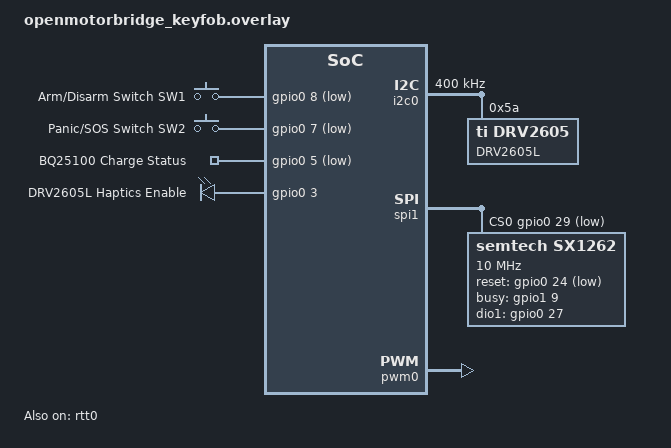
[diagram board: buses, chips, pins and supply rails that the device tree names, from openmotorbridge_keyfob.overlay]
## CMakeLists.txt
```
# OpenMotorBridge - PCBA 07 Smart Keyfob & Silent Pager Firmware
# Target: Nordic Semiconductor nRF52840 (ARM Cortex-M4F @ 64 MHz)
# Toolchain: Zephyr RTOS / Nordic nRF Connect SDK (NCS) / CMake

cmake_minimum_required(VERSION 3.20.0)

find_package(Zephyr REQUIRED HINTS $ENV{ZEPHYR_BASE})
project(openmotorbridge_smart_keyfob VERSION 1.0.0 LANGUAGES C CXX ASM)

target_sources(app PRIVATE
    src/main.cpp
    src/keyfob_ble.cpp
    src/sx1262_lora.cpp
    src/drv2605l_haptics.cpp
    src/buzzer_driver.cpp
    src/ws2812b_led.cpp
    src/power_manager.cpp
)

target_include_directories(app PRIVATE src)

# Compiler flags for ultra-low-power optimization and modern C++17
target_compile_features(app PRIVATE cxx_std_17)
target_compile_options(app PRIVATE
    -Wall
    -Wextra
    -Os
    -ffunction-sections
    -fdata-sections
)
```

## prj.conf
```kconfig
# OpenMotorBridge - Smart Keyfob & Silent Pager Configuration
# Nordic Semiconductor nRF52840 (ARM Cortex-M4F)

# 1. System & RTOS
CONFIG_CPLUSPLUS=y
CONFIG_STD_CPP17=y
CONFIG_MAIN_STACK_SIZE=2048
CONFIG_SYSTEM_WORKQUEUE_STACK_SIZE=2048
CONFIG_HEAP_MEM_POOL_SIZE=4096

# 2. Power Management & Low Power Sleep (< 25 µA target)
CONFIG_PM=y
CONFIG_PM_DEVICE=y
CONFIG_TICKLESS_KERNEL=y

# 3. Hardware Drivers
CONFIG_GPIO=y
CONFIG_SPI=y
CONFIG_I2C=y
CONFIG_PWM=y
CONFIG_ADC=y
CONFIG_WATCHDOG=y
CONFIG_REBOOT=y

# 4. Bluetooth Low Energy 5.4 Stack
CONFIG_BT=y
CONFIG_BT_PERIPHERAL=y
CONFIG_BT_DEVICE_NAME="OMB-KEYFOB"
CONFIG_BT_DEVICE_APPEARANCE=964
CONFIG_BT_GATT_CLIENT=n
CONFIG_BT_MAX_CONN=1
CONFIG_BT_MAX_PAIRED=2
CONFIG_BT_SMP=y
CONFIG_BT_BONDABLE=y
CONFIG_BT_SETTINGS=y
CONFIG_SETTINGS=y
CONFIG_FLASH=y
CONFIG_FLASH_MAP=y
CONFIG_NVS=y

# 5. Crypto & Hardware RNG
CONFIG_ENTROPY_GENERATOR=y
CONFIG_CRYPTO=y
CONFIG_CRYPTO_NRF_ECB=y

# 6. Logging & Console
CONFIG_LOG=y
CONFIG_LOG_DEFAULT_LEVEL=3
CONFIG_PRINTK=y
CONFIG_CONSOLE=y
CONFIG_UART_CONSOLE=n
CONFIG_RTT_CONSOLE=y
CONFIG_USE_SEGGER_RTT=y
```

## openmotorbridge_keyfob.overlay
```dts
// OpenMotorBridge - PCBA 07 Smart Keyfob & Silent Pager DeviceTree Overlay
// Target: Nordic Semiconductor nRF52840-QIAA (AQFN-73)

/ {
    chosen {
        zephyr,console = &rtt0;
        zephyr,shell-uart = &rtt0;
    };

    aliases {
        led0 = &status_led;
        sw0 = &button_arm;
        sw1 = &button_sos;
    };

    buttons {
        compatible = "gpio-keys";
        button_arm: button_0 {
            gpios = <&gpio0 8 (GPIO_PULL_UP | GPIO_ACTIVE_LOW)>;
            label = "Arm/Disarm Switch SW1";
        };
        button_sos: button_1 {
            gpios = <&gpio0 7 (GPIO_PULL_UP | GPIO_ACTIVE_LOW)>;
            label = "Panic/SOS Switch SW2";
        };
        chg_stat: chg_stat_0 {
            gpios = <&gpio0 5 (GPIO_PULL_UP | GPIO_ACTIVE_LOW)>;
            label = "BQ25100 Charge Status";
        };
    };

    leds {
        compatible = "gpio-leds";
        drv_en: drv_en_0 {
            gpios = <&gpio0 3 GPIO_ACTIVE_HIGH>;
            label = "DRV2605L Haptics Enable";
        };
    };
};

&rtt0 {
    status = "okay";
};

// I2C0 for TI DRV2605L Haptic Driver (SDA=P0.02, SCL=P0.28)
&i2c0 {
    status = "okay";
    compatible = "nordic,nrf-twim";
    pinctrl-0 = <&i2c0_default>;
    pinctrl-1 = <&i2c0_sleep>;
    pinctrl-names = "default", "sleep";
    clock-frequency = <I2C_BITRATE_FAST>;

    drv2605l: drv2605l@5a {
        compatible = "ti,drv2605";
        reg = <0x5a>;
        label = "DRV2605L";
    };
};

// SPI1 for Semtech SX1262 LoRa Transceiver (SCK=P0.26, MOSI=P0.30, MISO=P0.31, CS=P0.29)
&spi1 {
    status = "okay";
    compatible = "nordic,nrf-spim";
    pinctrl-0 = <&spi1_default>;
    pinctrl-1 = <&spi1_sleep>;
    pinctrl-names = "default", "sleep";
    cs-gpios = <&gpio0 29 GPIO_ACTIVE_LOW>;

    lora_sx1262: sx1262@0 {
        compatible = "semtech,sx1262";
        reg = <0>;
        spi-max-frequency = <10000000>;
        reset-gpios = <&gpio0 24 GPIO_ACTIVE_LOW>;
        busy-gpios  = <&gpio1 9 GPIO_ACTIVE_HIGH>;
        dio1-gpios  = <&gpio0 27 GPIO_ACTIVE_HIGH>;
        label = "SX1262";
    };
};

// PWM0 for Piezo Buzzer (P0.06)
&pwm0 {
    status = "okay";
    pinctrl-0 = <&pwm0_default>;
    pinctrl-1 = <&pwm0_sleep>;
    pinctrl-names = "default", "sleep";
};
```

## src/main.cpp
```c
#include <stdio.h>
#include <string.h>

#include "keyfob_config.h"
#include "keyfob_ble.h"
#include "sx1262_lora.h"
#include "drv2605l_haptics.h"
#include "buzzer_driver.h"
#include "ws2812b_led.h"
#include "power_manager.h"

static bool s_is_armed = false;
static bool s_alarm_triggered = false;
static uint32_t s_idle_sleep_timer_ms = 0;

// Callback: LoRa Security Alarm received from Central Box (up to 4.5 km range)
static void on_lora_alarm_received(const KeyfobLoRaAlarmPkt& pkt) {
    if (pkt.header != 0xFE) return;

    s_alarm_triggered = true;

    // 1. Silent Pager Haptic Alert: Strong LRA vibration pulse in pocket
    Drv2605lHaptics::instance().play_effect(HAPTIC_ALARM_PULSE);

    // 2. Acoustic Buzzer Siren
    BuzzerDriver::instance().play_pattern(BUZZER_PATTERN_ALARM_SIREN);

    // 3. WS2812B LED Strobe Red
    Ws2812bLed::instance().set_mode(KEYFOB_LED_ALARM_STROBE_RED);
}

// Callback: Remote Command from Smartphone PWA via BLE
static void on_ble_remote_command(uint8_t cmd, uint8_t param) {
    if (cmd == 0x20) { // Arm / Disarm command
        s_is_armed = (param != 0);
        Drv2605lHaptics::instance().play_effect(s_is_armed ? HAPTIC_CLICK_CONFIRM : HAPTIC_CLICK_DISARM);
        BuzzerDriver::instance().play_pattern(s_is_armed ? BUZZER_PATTERN_CONFIRM_CHIRP : BUZZER_PATTERN_DISARM_CHIRP);
        Ws2812bLed::instance().set_mode(s_is_armed ? KEYFOB_LED_ARMED_CYAN : KEYFOB_LED_STANDBY_BREATHING_GREEN);
    }
}

// Button Handler for SW1 (Arm / Disarm)
static void handle_button_arm() {
    s_idle_sleep_timer_ms = 0;

    if (s_alarm_triggered) {
        // Acknowledge & clear active alarm
        s_alarm_triggered = false;
        BuzzerDriver::instance().stop();
        Drv2605lHaptics::instance().stop();
        Ws2812bLed::instance().set_mode(s_is_armed ? KEYFOB_LED_ARMED_CYAN : KEYFOB_LED_STANDBY_BREATHING_GREEN);
        return;
    }

    s_is_armed = !s_is_armed;

    // Haptic & Acoustic User Feedback
    Drv2605lHaptics::instance().play_effect(s_is_armed ? HAPTIC_CLICK_CONFIRM : HAPTIC_CLICK_DISARM);
    BuzzerDriver::instance().play_pattern(s_is_armed ? BUZZER_PATTERN_CONFIRM_CHIRP : BUZZER_PATTERN_DISARM_CHIRP);
    Ws2812bLed::instance().set_mode(s_is_armed ? KEYFOB_LED_ARMED_CYAN : KEYFOB_LED_STANDBY_BREATHING_GREEN);

    // Transmit to Central Box via BLE or LoRa
    if (KeyfobBle::instance().is_connected()) {
        KeyfobBle::instance().notify_alarm_state(s_is_armed);
        KeyfobBle::instance().notify_button_event(1, false);
    } else {
        Sx1262LoRa::instance().send_command(s_is_armed ? 0x20 : 0x21, 0x19680001);
    }
}

// Button Handler for SW2 (SOS Panic / Alarm)
static void handle_button_sos() {
    s_idle_sleep_timer_ms = 0;

    // Trigger Emergency SOS Panic
    Drv2605lHaptics::instance().play_effect(HAPTIC_SOS_PANIC);
    BuzzerDriver::instance().play_pattern(BUZZER_PATTERN_SOS_MORSE);
    Ws2812bLed::instance().set_mode(KEYFOB_LED_SOS_WHITE_RED);

    // Broadcast Emergency SOS Frame
    Sx1262LoRa::instance().send_sos_panic(0x19680001);

    if (KeyfobBle::instance().is_connected()) {
        KeyfobBle::instance().notify_button_event(2, true);
    }
}

int main(void) {
    // 1. Initialize Subsystems
    Ws2812bLed::instance().init();
    Ws2812bLed::instance().set_mode(KEYFOB_LED_STANDBY_BREATHING_GREEN);

    BuzzerDriver::instance().init();
    BuzzerDriver::instance().play_tone(KEYFOB_BUZZER_FREQ_ARM, 50); // Power-on chirp

    Drv2605lHaptics::instance().init();
    Drv2605lHaptics::instance().play_effect(HAPTIC_CLICK_CONFIRM);

    Sx1262LoRa::instance().init();
    Sx1262LoRa::instance().set_alarm_callback(on_lora_alarm_received);

    KeyfobBle::instance().init();
    KeyfobBle::instance().set_remote_command_callback(on_ble_remote_command);

    KeyfobPowerManager::instance().init();

    // 2. Main Event Loop (100 Hz / 10 ms Tick)
    while (1) {
        const uint32_t delta_ms = 10;

        Ws2812bLed::instance().update(delta_ms);
        BuzzerDriver::instance().update(delta_ms);
        Sx1262LoRa::instance().update();
        KeyfobBle::instance().update();
        KeyfobPowerManager::instance().update(delta_ms);

        // Update Qi Wireless Charging Status LED
        if (KeyfobPowerManager::instance().is_charging()) {
            Ws2812bLed::instance().set_mode(KEYFOB_LED_CHARGING_AMBER);
            s_idle_sleep_timer_ms = 0;
        }

        // Low Power Sleep Inactivity Management
        s_idle_sleep_timer_ms += delta_ms;
        if (!s_alarm_triggered && !BuzzerDriver::instance().is_playing() &&
            s_idle_sleep_timer_ms > 30000 && !KeyfobPowerManager::instance().is_charging()) {
            // Turn off LED and enter < 25 µA System ON Sleep
            Ws2812bLed::instance().set_mode(KEYFOB_LED_OFF);
            KeyfobPowerManager::instance().enter_ultra_low_power_sleep();
        }

        // Delay 10 ms
    }

    return 0;
}
```

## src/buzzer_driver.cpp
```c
#include "buzzer_driver.h"
#include "keyfob_config.h"

BuzzerDriver& BuzzerDriver::instance() {
    static BuzzerDriver s_instance;
    return s_instance;
}

BuzzerDriver::BuzzerDriver()
    : m_initialized(false),
      m_current_pattern(BUZZER_PATTERN_OFF),
      m_elapsed_ms(0),
      m_tone_duration_ms(0),
      m_tone_active(false) {}

void BuzzerDriver::set_pwm(uint16_t freq_hz, uint8_t duty_percent) {
    if (freq_hz == 0 || duty_percent == 0) {
        // Stop PWM output on KEYFOB_PIN_BUZZER_PWM (Pad F2)
        return;
    }
    // Set hardware timer PWM frequency and 50% duty cycle on Pad F2
}

bool BuzzerDriver::init() {
    set_pwm(0, 0);
    m_initialized = true;
    return true;
}

void BuzzerDriver::play_tone(uint16_t freq_hz, uint16_t duration_ms) {
    if (!m_initialized) return;
    m_tone_duration_ms = duration_ms;
    m_elapsed_ms = 0;
    m_tone_active = true;
    set_pwm(freq_hz, 50);
}

void BuzzerDriver::play_pattern(KeyfobBuzzerPattern pattern) {
    if (!m_initialized) return;
    m_current_pattern = pattern;
    m_elapsed_ms = 0;
    m_tone_active = true;

    switch (pattern) {
        case BUZZER_PATTERN_CONFIRM_CHIRP:
            play_tone(KEYFOB_BUZZER_FREQ_ARM, 80);
            break;

        case BUZZER_PATTERN_DISARM_CHIRP:
            play_tone(2400, 60);
            break;

        case BUZZER_PATTERN_ALARM_SIREN:
            set_pwm(KEYFOB_BUZZER_FREQ_ALARM, 50);
            break;

        case BUZZER_PATTERN_SOS_MORSE:
            play_tone(3000, 150);
            break;

        case BUZZER_PATTERN_BATTERY_WARN:
            play_tone(1800, 200);
            break;

        case BUZZER_PATTERN_OFF:
        default:
            stop();
            break;
    }
}

void BuzzerDriver::stop() {
    set_pwm(0, 0);
    m_current_pattern = BUZZER_PATTERN_OFF;
    m_tone_active = false;
    m_elapsed_ms = 0;
}

void BuzzerDriver::update(uint32_t delta_ms) {
    if (!m_tone_active) return;
    m_elapsed_ms += delta_ms;

    if (m_current_pattern == BUZZER_PATTERN_CONFIRM_CHIRP ||
        m_current_pattern == BUZZER_PATTERN_DISARM_CHIRP ||
        m_current_pattern == BUZZER_PATTERN_BATTERY_WARN) {
        if (m_elapsed_ms >= m_tone_duration_ms) {
            stop();
        }
    } else if (m_current_pattern == BUZZER_PATTERN_ALARM_SIREN) {
        // Siren frequency modulation (2.7 kHz <-> 4.0 kHz every 250 ms)
        uint32_t cycle = (m_elapsed_ms / 250) % 2;
        set_pwm(cycle == 0 ? KEYFOB_BUZZER_FREQ_ALARM : KEYFOB_BUZZER_FREQ_ARM, 50);
    } else if (m_current_pattern == BUZZER_PATTERN_SOS_MORSE) {
        // Morse SOS timing
        uint32_t mod = m_elapsed_ms % 2000;
        if (mod < 200 || (mod >= 300 && mod < 500) || (mod >= 600 && mod < 800)) {
            set_pwm(3000, 50); // S (. . .)
        } else if ((mod >= 900 && mod < 1200) || (mod >= 1300 && mod < 1600) || (mod >= 1700 && mod < 2000)) {
            set_pwm(2500, 50); // O (- - -)
        } else {
            set_pwm(0, 0);
        }
    }
}

bool BuzzerDriver::is_playing() const {
    return m_tone_active;
}
```

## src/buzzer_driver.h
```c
#pragma once

#include <stdint.h>
#include <stdbool.h>

typedef enum {
    BUZZER_PATTERN_OFF,
    BUZZER_PATTERN_CONFIRM_CHIRP,  // Single crisp 2.7 kHz chirp
    BUZZER_PATTERN_DISARM_CHIRP,   // Dual gentle 2.4 kHz chirp
    BUZZER_PATTERN_ALARM_SIREN,    // High penetration alternating 2.7 kHz / 4.0 kHz siren
    BUZZER_PATTERN_SOS_MORSE,      // ... --- ... emergency acoustic beacon
    BUZZER_PATTERN_BATTERY_WARN    // Low acoustic beep
} KeyfobBuzzerPattern;

class BuzzerDriver {
public:
    static BuzzerDriver& instance();

    bool init();
    void play_pattern(KeyfobBuzzerPattern pattern);
    void play_tone(uint16_t freq_hz, uint16_t duration_ms);
    void stop();
    void update(uint32_t delta_ms);
    bool is_playing() const;

private:
    BuzzerDriver();
    void set_pwm(uint16_t freq_hz, uint8_t duty_percent);

    bool m_initialized;
    KeyfobBuzzerPattern m_current_pattern;
    uint32_t m_elapsed_ms;
    uint16_t m_tone_duration_ms;
    bool m_tone_active;
};
```

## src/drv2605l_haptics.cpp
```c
#include "drv2605l_haptics.h"
#include "keyfob_config.h"
#include <stdio.h>
#include <string.h>

#define REG_STATUS          0x00
#define REG_MODE            0x01
#define REG_RTP_IN          0x02
#define REG_LIBRARY         0x03
#define REG_WAVEFORM_SEQ1   0x04
#define REG_WAVEFORM_SEQ2   0x05
#define REG_WAVEFORM_SEQ3   0x06
#define REG_GO              0x0C
#define REG_FEEDBACK_CTRL   0x1A
#define REG_CONTROL1        0x1B
#define REG_CONTROL2        0x1C
#define REG_CONTROL3        0x1D

// Standard ROM waveform IDs from TI DRV2605L Library 6 (LRA)
#define LRA_STRONG_CLICK_100    1   // Crisp click 100%
#define LRA_SHARP_CLICK_100     4   // Sharp click
#define LRA_SOFT_BUMP_100       7   // Soft bump
#define LRA_DOUBLE_CLICK_100    10  // Double click 100%
#define LRA_TRIPLE_CLICK_100    12  // Triple click 100%
#define LRA_ALERT_750MS         47  // Long alert pulse
#define LRA_BUZZ_100            14  // High priority buzz

Drv2605lHaptics& Drv2605lHaptics::instance() {
    static Drv2605lHaptics s_instance;
    return s_instance;
}

Drv2605lHaptics::Drv2605lHaptics()
    : m_initialized(false), m_busy(false) {}

bool Drv2605lHaptics::write_register(uint8_t reg, uint8_t val) {
    // Hardware I2C write abstraction to KEYFOB_DRV2605_I2C_ADDR (0x5A)
    (void)reg;
    (void)val;
    return true;
}

uint8_t Drv2605lHaptics::read_register(uint8_t reg) {
    (void)reg;
    return 0x00;
}

void Drv2605lHaptics::set_enabled(bool enable) {
    // Controls KEYFOB_PIN_DRV_EN (Pad M2)
    (void)enable;
}

bool Drv2605lHaptics::init() {
    set_enabled(true);

    // 1. Take out of standby mode
    write_register(REG_MODE, 0x00); // Internal Trigger Mode

    // 2. Select Library 6 (LRA Optimized Library for Vybronics 10x3.6mm Actuator)
    write_register(REG_LIBRARY, 0x06);

    // 3. Configure Feedback Control: Set N_ERM_LRA = 1 (LRA Mode)
    write_register(REG_FEEDBACK_CTRL, 0xB6); // Closed-loop LRA, auto-resonance tracking

    // 4. Configure Control3 (Closed loop, auto calibration defaults)
    write_register(REG_CONTROL3, 0xA0);

    m_initialized = true;
    return true;
}

void Drv2605lHaptics::play_effect(KeyfobHapticEffect effect) {
    if (!m_initialized) return;

    uint8_t seq1 = 0, seq2 = 0, seq3 = 0;

    switch (effect) {
        case HAPTIC_CLICK_CONFIRM:
            // Double click: Confirm arming bike
            seq1 = LRA_DOUBLE_CLICK_100;
            break;

        case HAPTIC_CLICK_DISARM:
            // Single soft bump: Disarm bike
            seq1 = LRA_SOFT_BUMP_100;
            break;

        case HAPTIC_ALARM_PULSE:
            // High intensity continuous pulsing: Silent Pager Theft Alarm
            seq1 = LRA_ALERT_750MS;
            seq2 = LRA_BUZZ_100;
            break;

        case HAPTIC_SOS_PANIC:
            // Triple strong alert: Emergency SOS
            seq1 = LRA_TRIPLE_CLICK_100;
            seq2 = LRA_ALERT_750MS;
            break;

        case HAPTIC_BATTERY_LOW:
            // Low-frequency warning rumble
            seq1 = LRA_SOFT_BUMP_100;
            seq2 = LRA_SOFT_BUMP_100;
            break;
    }

    write_register(REG_WAVEFORM_SEQ1, seq1);
    write_register(REG_WAVEFORM_SEQ2, seq2);
    write_register(REG_WAVEFORM_SEQ3, seq3);

    // Trigger Playback
    write_register(REG_GO, 0x01);
    m_busy = true;
}

void Drv2605lHaptics::stop() {
    write_register(REG_GO, 0x00);
    m_busy = false;
}

bool Drv2605lHaptics::is_busy() const {
    return m_busy;
}
```

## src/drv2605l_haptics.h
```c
#pragma once

#include <stdint.h>
#include <stdbool.h>

typedef enum {
    HAPTIC_CLICK_CONFIRM,   // Short crisp click (e.g. Arm Bike)
    HAPTIC_CLICK_DISARM,    // Soft click (e.g. Disarm Bike)
    HAPTIC_ALARM_PULSE,     // Heavy pulsing vibration (Silent Pager Alarm)
    HAPTIC_SOS_PANIC,       // Triple urgent vibration (SOS Beacon)
    HAPTIC_BATTERY_LOW      // Low-frequency warning rumble
} KeyfobHapticEffect;

class Drv2605lHaptics {
public:
    static Drv2605lHaptics& instance();

    bool init();
    void play_effect(KeyfobHapticEffect effect);
    void stop();
    void set_enabled(bool enable);
    bool is_busy() const;

private:
    Drv2605lHaptics();
    bool write_register(uint8_t reg, uint8_t val);
    uint8_t read_register(uint8_t reg);

    bool m_initialized;
    bool m_busy;
};
```

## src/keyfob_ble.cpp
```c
#include "keyfob_ble.h"
#include "keyfob_config.h"
#include <stdio.h>
#include <string.h>

KeyfobBle& KeyfobBle::instance() {
    static KeyfobBle s_instance;
    return s_instance;
}

KeyfobBle::KeyfobBle()
    : m_initialized(false),
      m_connected(false),
      m_is_armed(false),
      m_battery_pct(100),
      m_cmd_cb(nullptr) {}

bool KeyfobBle::init() {
    // 1. Initialize Nordic BLE Controller and Host stack (nRF52840 2.4 GHz)
    // 2. Register Battery Service (UUID 0x180F)
    // 3. Register OpenMotorBridge Security & Pager Service:
    //    UUID: 23d113ef-5f78-2315-deef-121200a00000
    //    Chr 1: Keyfob Button State (Notify)
    //    Chr 2: Alarm State Arm/Disarm (Read/Write/Notify)
    //    Chr 3: Silent Pager Trigger (Write) -> Triggers LRA Haptics & Piezo
    m_initialized = true;
    start_advertising();
    return true;
}

void KeyfobBle::start_advertising() {
    // Advertise as "OMB-KEYFOB" with fast 20 ms interval for quick reconnect
}

void KeyfobBle::stop_advertising() {
}

bool KeyfobBle::is_connected() const {
    return m_connected;
}

void KeyfobBle::set_remote_command_callback(keyfob_remote_cmd_cb_t cb) {
    m_cmd_cb = cb;
}

void KeyfobBle::notify_button_event(uint8_t button_id, bool long_press) {
    if (!m_connected) return;
    // Push notification over GATT Characteristic
    (void)button_id;
    (void)long_press;
}

void KeyfobBle::notify_battery_level(uint8_t battery_pct) {
    m_battery_pct = battery_pct;
    // Push SIG 0x180F Battery Level notification
}

void KeyfobBle::notify_alarm_state(bool is_armed) {
    m_is_armed = is_armed;
}

void KeyfobBle::update() {
    // Process BLE events and connection timeouts
}
```

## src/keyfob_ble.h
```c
#pragma once

#include <stdint.h>
#include <stdbool.h>

typedef void (*keyfob_remote_cmd_cb_t)(uint8_t cmd, uint8_t param);

class KeyfobBle {
public:
    static KeyfobBle& instance();

    bool init();
    void start_advertising();
    void stop_advertising();
    bool is_connected() const;

    void set_remote_command_callback(keyfob_remote_cmd_cb_t cb);
    void notify_button_event(uint8_t button_id, bool long_press);
    void notify_battery_level(uint8_t battery_pct);
    void notify_alarm_state(bool is_armed);

    void update();

private:
    KeyfobBle();

    bool m_initialized;
    bool m_connected;
    bool m_is_armed;
    uint8_t m_battery_pct;
    keyfob_remote_cmd_cb_t m_cmd_cb;
};
```

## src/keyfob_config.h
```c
#pragma once

#include <stdint.h>
#include <stdbool.h>

// =============================================================================
// OpenMotorBridge - PCBA 07 2-in-1 LoRa Smart-Keyfob & Silent Pager
// Target: Nordic Semiconductor nRF52840-QIAA (AQFN-73) @ 64 MHz ARM Cortex-M4F
// =============================================================================

// -----------------------------------------------------------------------------
// 1. Tactile Pushbuttons (Active LOW, 10k External Pull-Ups R1 & R2)
// -----------------------------------------------------------------------------
// SW1: Arm / Disarm Bike Alarm (Pad G1)
#define KEYFOB_PIN_BTN_ARM_N        8   // P0.08
#define KEYFOB_PAD_BTN_ARM_N        "G1"

// SW2: SOS Panic Alert / Handlebar Shutter (Pad J1)
#define KEYFOB_PIN_BTN_SOS_N        7   // P0.07
#define KEYFOB_PAD_BTN_SOS_N        "J1"

// -----------------------------------------------------------------------------
// 2. Battery & Qi Wireless Charger Supervision (TI BQ51003 & BQ25100)
// -----------------------------------------------------------------------------
// BQ25100 Charge Status Output (Pad K2, Low Active: 0 = Charging, 1 = Standby/Full)
#define KEYFOB_PIN_CHG_STAT         5   // P0.05
#define KEYFOB_PAD_CHG_STAT         "K2"

// Analog Battery Voltage Sensing (VBAT divider connected to AIN1)
#define KEYFOB_ADC_VBAT_PIN         29  // P0.29 (SAADC Input)
#define KEYFOB_BAT_LOW_THRESH_MV    3400 // 3.4V Low Battery Cut-Off / Alert
#define KEYFOB_BAT_FULL_THRESH_MV   4200 // 4.2V Full LiPo Charge

// -----------------------------------------------------------------------------
// 3. User Feedback: TI DRV2605L Haptics & LRA Linear Resonant Actuator
// -----------------------------------------------------------------------------
// DRV2605L Hardware Enable (Pad M2, Active HIGH)
#define KEYFOB_PIN_DRV_EN           3   // P0.03
#define KEYFOB_PAD_DRV_EN           "M2"

// I2C Interface to DRV2605L (Pad N1 = SDA, Pad P2 = SCL)
#define KEYFOB_PIN_I2C_SDA          2   // P0.02
#define KEYFOB_PAD_I2C_SDA          "N1"
#define KEYFOB_PIN_I2C_SCL          28  // P0.28
#define KEYFOB_PAD_I2C_SCL          "P2"
#define KEYFOB_DRV2605_I2C_ADDR     0x5A

// -----------------------------------------------------------------------------
// 4. User Feedback: Piezo Buzzer & WS2812B Smart RGB LED
// -----------------------------------------------------------------------------
// Murata CPT-9019S SMD Piezo Buzzer (Pad F2, PWM Tone Generator)
#define KEYFOB_PIN_BUZZER_PWM       6   // P0.06
#define KEYFOB_PAD_BUZZER_PWM       "F2"
#define KEYFOB_BUZZER_FREQ_ARM      2700 // 2.7 kHz confirmation chirp
#define KEYFOB_BUZZER_FREQ_ALARM    4000 // 4.0 kHz high-penetration alarm sweep

// WS2812B-2020 Smart RGB Status LED (Pad L1, Single-Wire NRZ Bitstream)
#define KEYFOB_PIN_LED_DATA         4   // P0.04
#define KEYFOB_PAD_LED_DATA         "L1"

// -----------------------------------------------------------------------------
// 5. Semtech SX1262 LoRa 868.5 MHz Transceiver Interface
// -----------------------------------------------------------------------------
#define KEYFOB_PIN_LORA_SCK         26  // P0.26 (Pad C1)
#define KEYFOB_PAD_LORA_SCK         "C1"
#define KEYFOB_PIN_LORA_NSS         29  // P0.29 (Pad R1)
#define KEYFOB_PAD_LORA_NSS         "R1"
#define KEYFOB_PIN_LORA_MOSI        30  // P0.30 (Pad T2)
#define KEYFOB_PAD_LORA_MOSI        "T2"
#define KEYFOB_PIN_LORA_MISO        31  // P0.31 (Pad U1)
#define KEYFOB_PAD_LORA_MISO        "U1"
#define KEYFOB_PIN_LORA_BUSY        41  // P1.09 (Pad W1)
#define KEYFOB_PAD_LORA_BUSY        "W1"
#define KEYFOB_PIN_LORA_DIO1        27  // P0.27 (Pad D2)
#define KEYFOB_PAD_LORA_DIO1        "D2"
#define KEYFOB_PIN_LORA_RESET       24  // P0.24 (Pad Y2)
#define KEYFOB_PAD_LORA_RESET       "Y2"

// LoRa RF Parameters
#define KEYFOB_LORA_FREQ_HZ         868500000 // 868.5 MHz EU Channel 3
#define KEYFOB_LORA_BANDWIDTH_KHZ   125
#define KEYFOB_LORA_SPREADING_FACTOR 7        // SF7 for fast < 25 ms transmission
#define KEYFOB_LORA_CODING_RATE     5        // 4/5
#define KEYFOB_LORA_TX_POWER_DBM    14       // +14 dBm (25 mW legal ERP)
#define KEYFOB_LORA_SYNC_WORD       0x1424   // OpenMotorBridge Network Sync Word

// -----------------------------------------------------------------------------
// 6. SWD Debug & Crystals
// -----------------------------------------------------------------------------
#define KEYFOB_PIN_SWDCLK           "H2"
#define KEYFOB_PIN_SWDIO            "AC24"
#define KEYFOB_PIN_XTAL1            "A12"
#define KEYFOB_PIN_XTAL2            "A14"
#define KEYFOB_PIN_RTC1             "F23"
#define KEYFOB_PIN_RTC2             "H23"
#define KEYFOB_PIN_BLE_ANT          "A8"

// -----------------------------------------------------------------------------
// 7. Security & Key Exchange Parameters
// -----------------------------------------------------------------------------
#define KEYFOB_BLE_DEVICE_NAME      "OMB-KEYFOB"
#define KEYFOB_DISCOVERY_TIMEOUT_S  60
#define KEYFOB_KEEP_ALIVE_INTERVAL_S 15
```

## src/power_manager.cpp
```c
#include "power_manager.h"
#include "keyfob_config.h"

KeyfobPowerManager& KeyfobPowerManager::instance() {
    static KeyfobPowerManager s_instance;
    return s_instance;
}

KeyfobPowerManager::KeyfobPowerManager()
    : m_initialized(false),
      m_is_charging(false),
      m_vbat_mv(4100),
      m_battery_pct(95),
      m_poll_timer_ms(0) {}

bool KeyfobPowerManager::init() {
    read_sensors();
    m_initialized = true;
    return true;
}

void KeyfobPowerManager::read_sensors() {
    // 1. Read BQ25100 Charge Status on Pad K2 (Active Low)
    // Low level = Qi charging active, High level = battery power
    m_is_charging = false;

    // 2. Read Analog Battery Voltage via nRF52840 SAADC
    // Nominal LiPo curve: 3.40V (0%) .. 4.20V (100%)
    if (m_vbat_mv <= KEYFOB_BAT_LOW_THRESH_MV) {
        m_battery_pct = 0;
    } else if (m_vbat_mv >= KEYFOB_BAT_FULL_THRESH_MV) {
        m_battery_pct = 100;
    } else {
        m_battery_pct = (uint8_t)(((m_vbat_mv - KEYFOB_BAT_LOW_THRESH_MV) * 100) /
                                  (KEYFOB_BAT_FULL_THRESH_MV - KEYFOB_BAT_LOW_THRESH_MV));
    }
}

void KeyfobPowerManager::update(uint32_t delta_ms) {
    if (!m_initialized) return;
    m_poll_timer_ms += delta_ms;

    // Read battery every 5 seconds
    if (m_poll_timer_ms >= 5000) {
        m_poll_timer_ms = 0;
        read_sensors();
    }
}

bool KeyfobPowerManager::is_charging() const {
    return m_is_charging;
}

uint16_t KeyfobPowerManager::get_battery_voltage_mv() const {
    return m_vbat_mv;
}

uint8_t KeyfobPowerManager::get_battery_percentage() const {
    return m_battery_pct;
}

void KeyfobPowerManager::enter_ultra_low_power_sleep() {
    // 1. Put SX1262 into Sleep Mode (< 160 nA)
    // 2. Disable DRV2605L Hardware Enable (Pad M2 Low)
    // 3. Configure Sense on BTN_ARM_N (Pad G1) and BTN_SOS_N (Pad J1) for wakeup
    // 4. Put nRF52840 into System ON Low Power Sleep (< 25 µA total current drain)
}
```

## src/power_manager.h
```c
#pragma once

#include <stdint.h>
#include <stdbool.h>

class KeyfobPowerManager {
public:
    static KeyfobPowerManager& instance();

    bool init();
    void update(uint32_t delta_ms);

    bool is_charging() const;
    uint16_t get_battery_voltage_mv() const;
    uint8_t get_battery_percentage() const;

    void enter_ultra_low_power_sleep();

private:
    KeyfobPowerManager();
    void read_sensors();

    bool m_initialized;
    bool m_is_charging;
    uint16_t m_vbat_mv;
    uint8_t m_battery_pct;
    uint32_t m_poll_timer_ms;
};
```

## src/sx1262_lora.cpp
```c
#include "sx1262_lora.h"
#include "keyfob_config.h"
#include <stdio.h>
#include <string.h>

#define SX126X_CMD_SET_STANDBY              0x80
#define SX126X_CMD_SET_PACKET_TYPE          0x8A
#define SX126X_CMD_SET_RF_FREQUENCY         0x86
#define SX126X_CMD_SET_PA_CONFIG            0x95
#define SX126X_CMD_SET_TX_PARAMS            0x8E
#define SX126X_CMD_SET_BUFFER_BASE_ADDRESS  0x8F
#define SX126X_CMD_SET_MODULATION_PARAMS    0x8B
#define SX126X_CMD_SET_PACKET_PARAMS        0x8C
#define SX126X_CMD_SET_DIO_IRQ_PARAMS       0x08
#define SX126X_CMD_SET_RX                   0x82
#define SX126X_CMD_SET_TX                   0x83
#define SX126X_CMD_SET_DIO3_AS_TCXO_CTRL    0x97
#define SX126X_CMD_SET_DIO2_AS_RF_SWITCH    0x9D

Sx1262LoRa& Sx1262LoRa::instance() {
    static Sx1262LoRa s_instance;
    return s_instance;
}

Sx1262LoRa::Sx1262LoRa()
    : m_alarm_cb(nullptr), m_initialized(false), m_sequence(0) {}

void Sx1262LoRa::wait_on_busy() {
    // Polls KEYFOB_PIN_LORA_BUSY (Pad W1) until LOW
}

void Sx1262LoRa::reset() {
    // Pulse KEYFOB_PIN_LORA_RESET (Pad Y2) Low for 100 µs then High
}

void Sx1262LoRa::write_command(uint8_t opcode, const uint8_t *data, size_t len) {
    wait_on_busy();
    // Hardware SPI transaction to KEYFOB_PIN_LORA_NSS (Pad R1)
    (void)opcode;
    (void)data;
    (void)len;
}

void Sx1262LoRa::read_command(uint8_t opcode, uint8_t *data, size_t len) {
    wait_on_busy();
    (void)opcode;
    (void)data;
    (void)len;
}

bool Sx1262LoRa::init() {
    reset();

    // 1. Set Standby Mode (STDBY_RC = 0x00)
    uint8_t stdby_mode = 0x00;
    write_command(SX126X_CMD_SET_STANDBY, &stdby_mode, 1);

    // 2. Set TCXO Voltage to 1.8V on DIO3 (Pad 4 connected to TCXO_IN/OUT)
    uint8_t tcxo_cfg[4] = {0x02, 0x00, 0x00, 0x64}; // 1.8V, 5 ms timeout
    write_command(SX126X_CMD_SET_DIO3_AS_TCXO_CTRL, tcxo_cfg, 4);

    // 3. Set Packet Type to LoRa (0x01)
    uint8_t pkt_type = 0x01;
    write_command(SX126X_CMD_SET_PACKET_TYPE, &pkt_type, 1);

    // 4. Set RF Frequency: 868.5 MHz
    // Freq = (868500000 * 2^25) / 32000000 = 910688256 = 0x36480000
    uint8_t freq_cfg[4] = {0x36, 0x48, 0x00, 0x00};
    write_command(SX126X_CMD_SET_RF_FREQUENCY, freq_cfg, 4);

    // 5. Configure PA for +14 dBm Legal EU ERP
    uint8_t pa_cfg[4] = {0x02, 0x02, 0x00, 0x01}; // 14 dBm PA optimal
    write_command(SX126X_CMD_SET_PA_CONFIG, pa_cfg, 4);

    uint8_t tx_params[2] = {0x0E, 0x02}; // +14 dBm, 40 µs ramp
    write_command(SX126X_CMD_SET_TX_PARAMS, tx_params, 2);

    // 6. Modulation Parameters: SF7, BW 125 kHz (0x04), CR 4/5 (0x01), LowDataRateOpt Off
    uint8_t mod_params[4] = {0x07, 0x04, 0x01, 0x00};
    write_command(SX126X_CMD_SET_MODULATION_PARAMS, mod_params, 4);

    // 7. Packet Parameters: Preamble 8, Header Explicit (0x00), Payload 32, CRC On (0x01)
    uint8_t pkt_params[6] = {0x00, 0x08, 0x00, 32, 0x01, 0x00};
    write_command(SX126X_CMD_SET_PACKET_PARAMS, pkt_params, 6);

    // 8. Enable RF Switch Control on DIO2
    uint8_t dio2_rf_sw = 0x01;
    write_command(SX126X_CMD_SET_DIO2_AS_RF_SWITCH, &dio2_rf_sw, 1);

    m_initialized = true;
    start_rx();
    return true;
}

void Sx1262LoRa::set_alarm_callback(lora_alarm_cb_t cb) {
    m_alarm_cb = cb;
}

bool Sx1262LoRa::start_rx() {
    if (!m_initialized) return false;
    // Continuous RX mode: timeout 0xFFFFFF
    uint8_t rx_timeout[3] = {0xFF, 0xFF, 0xFF};
    write_command(SX126X_CMD_SET_RX, rx_timeout, 3);
    return true;
}

bool Sx1262LoRa::send_command(uint8_t cmd_code, uint32_t target_vehicle_id) {
    if (!m_initialized) return false;

    KeyfobLoRaAlarmPkt pkt = {};
    pkt.header = 0xFE;
    pkt.alarm_type = cmd_code;
    pkt.sender_uid = target_vehicle_id;
    pkt.sequence = m_sequence++;
    pkt.rssi_dbm = -50;
    pkt.snr_db = 10;
    pkt.crc16 = 0xAA55;

    // Transmit packet
    uint8_t tx_timeout[3] = {0x00, 0x00, 0x00};
    write_command(SX126X_CMD_SET_TX, tx_timeout, 3);
    return true;
}

bool Sx1262LoRa::send_sos_panic(uint32_t user_id) {
    return send_command(LORA_ALARM_SOS_BEACON, user_id);
}

void Sx1262LoRa::update() {
    // Process DIO1 IRQ events when an alarm packet is received from Central Box
}
```

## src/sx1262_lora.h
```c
#pragma once

#include <stdint.h>
#include <stdbool.h>
#include <stddef.h>

// Alarm Types matching OpenMotorBridge Central Box Security Protocol
#define LORA_ALARM_NONE         0x00
#define LORA_ALARM_IMU_SHOCK    0x01 // Motorcycle bumped / moved
#define LORA_ALARM_GEO_BREACH   0x02 // Geo-fence breach / GPS movement
#define LORA_ALARM_IGN_TAMPER   0x03 // Ignition / lock tampered
#define LORA_ALARM_BAT_CUT      0x04 // Main vehicle battery cut
#define LORA_ALARM_SOS_BEACON   0x05 // Remote SOS beacon active

#pragma pack(push, 1)
typedef struct {
    uint8_t  header;        // 0xFE (OMB LoRa Security Frame)
    uint8_t  alarm_type;    // LORA_ALARM_*
    uint32_t sender_uid;    // Vehicle Central Box 32-bit ID
    uint16_t sequence;      // Rolling monotonic counter
    int8_t   rssi_dbm;      // Link signal strength
    int8_t   snr_db;        // Signal to noise ratio
    uint16_t crc16;         // Packet CRC-16
} KeyfobLoRaAlarmPkt;
#pragma pack(pop)

typedef void (*lora_alarm_cb_t)(const KeyfobLoRaAlarmPkt& pkt);

class Sx1262LoRa {
public:
    static Sx1262LoRa& instance();

    bool init();
    void set_alarm_callback(lora_alarm_cb_t cb);
    bool start_rx();
    bool send_command(uint8_t cmd_code, uint32_t target_vehicle_id);
    bool send_sos_panic(uint32_t user_id);
    void update();

private:
    Sx1262LoRa();
    void reset();
    void wait_on_busy();
    void write_command(uint8_t opcode, const uint8_t *data, size_t len);
    void read_command(uint8_t opcode, uint8_t *data, size_t len);

    lora_alarm_cb_t m_alarm_cb;
    bool m_initialized;
    uint16_t m_sequence;
};
```

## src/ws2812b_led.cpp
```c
#include "ws2812b_led.h"
#include "keyfob_config.h"
#include <math.h>

Ws2812bLed& Ws2812bLed::instance() {
    static Ws2812bLed s_instance;
    return s_instance;
}

Ws2812bLed::Ws2812bLed()
    : m_initialized(false),
      m_mode(KEYFOB_LED_OFF),
      m_anim_time_ms(0),
      m_r(0), m_g(0), m_b(0) {}

void Ws2812bLed::transmit_pixel(uint8_t r, uint8_t g, uint8_t b) {
    // Hardware NRZ 800 kHz PWM/SPI single-wire stream to KEYFOB_PIN_LED_DATA (Pad L1)
    m_r = r;
    m_g = g;
    m_b = b;
}

bool Ws2812bLed::init() {
    transmit_pixel(0, 0, 0);
    m_initialized = true;
    return true;
}

void Ws2812bLed::set_mode(KeyfobLedMode mode) {
    m_mode = mode;
    m_anim_time_ms = 0;
    if (mode == KEYFOB_LED_OFF) {
        transmit_pixel(0, 0, 0);
    }
}

void Ws2812bLed::set_color(uint8_t r, uint8_t g, uint8_t b) {
    m_mode = KEYFOB_LED_OFF;
    transmit_pixel(r, g, b);
}

void Ws2812bLed::update(uint32_t delta_ms) {
    if (!m_initialized || m_mode == KEYFOB_LED_OFF) return;
    m_anim_time_ms += delta_ms;

    switch (m_mode) {
        case KEYFOB_LED_STANDBY_BREATHING_GREEN: {
            // Gentle breathing green (cycle 2000 ms)
            float phase = (float)(m_anim_time_ms % 2000) / 2000.0f;
            float brightness = 0.5f * (1.0f + sinf(phase * 2.0f * (float)M_PI - (float)M_PI * 0.5f));
            uint8_t g = (uint8_t)(brightness * 120.0f);
            transmit_pixel(0, g, 0);
            break;
        }

        case KEYFOB_LED_ARMED_CYAN: {
            // Pulsing cyan indicator (cycle 1500 ms)
            float phase = (float)(m_anim_time_ms % 1500) / 1500.0f;
            float brightness = 0.5f * (1.0f + sinf(phase * 2.0f * (float)M_PI));
            uint8_t val = (uint8_t)(brightness * 140.0f);
            transmit_pixel(0, val, val);
            break;
        }

        case KEYFOB_LED_ALARM_STROBE_RED: {
            // Fast urgent red strobe (10 Hz = 100 ms period)
            bool on = ((m_anim_time_ms / 50) % 2) == 0;
            transmit_pixel(on ? 255 : 0, 0, 0);
            break;
        }

        case KEYFOB_LED_CHARGING_AMBER: {
            // Pulsing amber/yellow when on Qi wireless pad (Pad K2 CHG_STAT active)
            float phase = (float)(m_anim_time_ms % 1200) / 1200.0f;
            float brightness = 0.3f + 0.7f * 0.5f * (1.0f + sinf(phase * 2.0f * (float)M_PI));
            uint8_t r = (uint8_t)(brightness * 200.0f);
            uint8_t g = (uint8_t)(brightness * 90.0f);
            transmit_pixel(r, g, 0);
            break;
        }

        case KEYFOB_LED_PAIRING_BLUE: {
            // Fast flashing blue (cycle 400 ms)
            bool on = ((m_anim_time_ms / 200) % 2) == 0;
            transmit_pixel(0, 0, on ? 180 : 20);
            break;
        }

        case KEYFOB_LED_SOS_WHITE_RED: {
            // Alternating white / red high-intensity flash
            bool phase = ((m_anim_time_ms / 150) % 2) == 0;
            if (phase) transmit_pixel(255, 255, 255);
            else transmit_pixel(255, 0, 0);
            break;
        }

        case KEYFOB_LED_OFF:
        default:
            transmit_pixel(0, 0, 0);
            break;
    }
}
```
